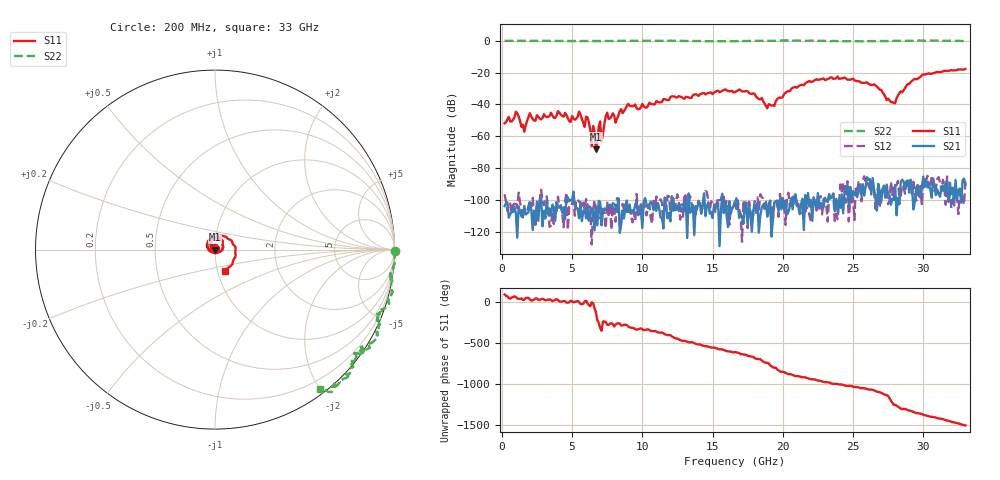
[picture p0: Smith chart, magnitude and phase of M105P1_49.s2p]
# GHZ S RI R 50
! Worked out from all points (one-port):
!   329 points, 200 MHz to 33 GHz, reference 50 ohm
!   lowest |S11| = -68.1 dB at 6.7 GHz (marker M1), VSWR 1.00, Z = 50 - j0.0318 ohm
!   |S11| at or under -10 dB: start of sweep to end of sweep
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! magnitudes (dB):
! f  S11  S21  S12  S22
! 200 MHz  -51.8  -103.9  -96.5  0.0
! 1 GHz  -44.6  -108.4  -100.8  0.0
! 1.6 GHz  -57.1  -103.7  -105.5  0.0
! 2 GHz  -45.5  -101.4  -100.5  0.1
! 5.7 GHz  -49.1  -113.3  -104.5  -0.1
! 6.1 GHz  -48.1  -102.7  -111.8  -0.1
! 6.4 GHz  -66.3  -105.4  -128.0  -0.1
! 6.5 GHz  -53.6  -106.1  -106.2  -0.1
! 6.7 GHz  -68.1  -105.1  -105.6  -0.1
! 7 GHz  -50.7  -101.3  -102.7  -0.1
! 7.1 GHz  -63.4  -116.0  -106.1  -0.1
! 7.5 GHz  -45.1  -104.6  -101.0  -0.1
! 8.1 GHz  -51.5  -103.7  -113.8  0.0
! 9 GHz  -39.6  -107.5  -102.0  0.0
! 11.2 GHz  -38.7  -105.2  -101.9  0.1
! 16.6 GHz  -32.3  -102.0  -99.9  -0.2
! 18.9 GHz  -42.4  -110.5  -106.6  0.1
! 22.1 GHz  -25.7  -113.2  -106.2  0.1
! 25 GHz  -23.8  -94.5  -98.6  -0.3
! 27.6 GHz  -37.4  -97.1  -100.6  0.0
! 30 GHz  -21.2  -85.3  -86.6  0.1
! 33 GHz  -17.7  -90.5  -88.5  -0.2
